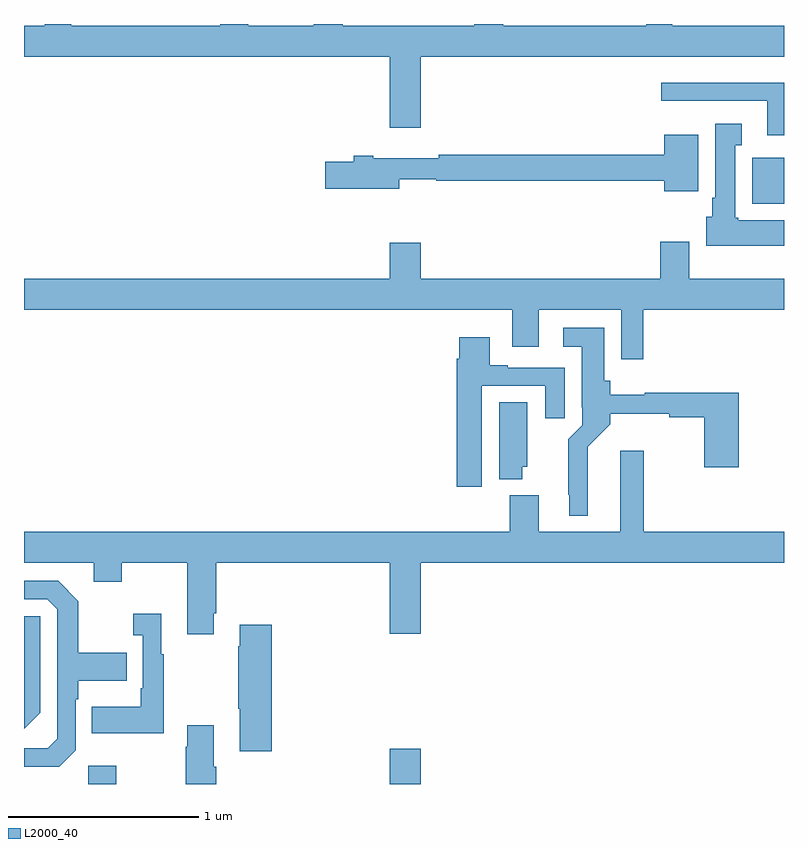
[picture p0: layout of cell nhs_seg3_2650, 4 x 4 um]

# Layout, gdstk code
import gdstk
lib = gdstk.Library(unit=1e-6, precision=1e-09)
def R(c, l, rs):  # rectangles x0, y0, x1, y1
    for r in rs: c.add(gdstk.rectangle(r[:2], r[2:], *l))
def P(c, l, *ps):  # polygons
    for p in ps: c.add(gdstk.Polygon(p, *l))
L2000_40 = (2000, 40)

nhs_seg3_2650 = lib.new_cell('nhs_seg3_2650')
R(nhs_seg3_2650, L2000_40, [(247.338,718.4,247.485,718.495), (248.924,718.4,249.088,718.585), (250.832,721.454,251,721.696)])
P(nhs_seg3_2650, L2000_40, [(251,722.392),(250.413,722.392),(250.413,722.4),(250.275,722.4),(250.275,722.392),(249.523,722.392),(249.523,722.4),(249.371,722.4),(249.371,722.392),(248.678,722.392),(248.678,722.4),(248.525,722.4),(248.525,722.392),(248.181,722.392),(248.181,722.4),(248.033,722.4),(248.033,722.392),(247.249,722.392),(247.249,722.4),(247.109,722.4),(247.109,722.392),(247,722.392),(247,722.228),(248.924,722.228),(248.924,721.854),(249.088,721.854),(249.088,722.228),(251,722.228)],
  [(251,722.092),(250.353,722.092),(250.353,721.995),(250.913,721.995),(250.913,721.814),(251,721.814)],
  [(251,721.366),(250.758,721.366),(250.758,721.38),(250.744,721.38),(250.744,721.763),(250.777,721.763),(250.777,721.876),(250.637,721.876),(250.637,721.486),(250.622,721.486),(250.622,721.386),(250.592,721.386),(250.592,721.232),(251,721.232)],
  [(250.549,721.816),(250.37,721.816),(250.37,721.712),(249.184,721.712),(249.184,721.693),(248.839,721.693),(248.839,721.706),(248.735,721.706),(248.735,721.676),(248.586,721.676),(248.586,721.534),(248.974,721.534),(248.974,721.584),(249.17,721.584),(249.17,721.576),(250.37,721.576),(250.37,721.52),(250.549,721.52)],
  [(250.259,720.896),(251,720.896),(251,721.06),(250.501,721.06),(250.501,721.255),(250.349,721.255),(250.349,721.06),(249.088,721.06),(249.088,721.249),(248.924,721.249),(248.924,721.06),(247,721.06),(247,720.896),(249.569,720.896),(249.569,720.702),(249.709,720.702),(249.709,720.896),(250.143,720.896),(250.143,720.636),(250.259,720.636)],
  [(249.967,720.176),(250.085,720.294),(250.085,720.35),(250.396,720.35),(250.396,720.331),(250.58,720.331),(250.58,720.066),(250.763,720.066),(250.763,720.46),(250.268,720.46),(250.268,720.449),(250.085,720.449),(250.085,720.522),(250.054,720.522),(250.054,720.802),(249.837,720.802),(249.837,720.701),(249.935,720.701),(249.935,720.382),(249.939,720.382),(249.939,720.288),(249.865,720.214),(249.865,719.923),(249.869,719.923),(249.869,719.813),(249.967,719.813)],
  [(249.409,720.495),(249.743,720.495),(249.743,720.324),(249.847,720.324),(249.847,720.591),(249.547,720.591),(249.547,720.604),(249.451,720.604),(249.451,720.751),(249.29,720.751),(249.29,720.638),(249.278,720.638),(249.278,719.964),(249.409,719.964)],
  [(249.622,720.069),(249.649,720.069),(249.649,720.41),(249.5,720.41),(249.5,720.005),(249.622,720.005)],
  [(247.999,719.299),(248.012,719.299),(248.012,719.564),(248.924,719.564),(248.924,719.19),(249.088,719.19),(249.088,719.564),(251,719.564),(251,719.728),(250.262,719.728),(250.262,720.154),(250.139,720.154),(250.139,719.728),(249.709,719.728),(249.709,719.92),(249.557,719.92),(249.557,719.728),(247,719.728),(247,719.564),(247.367,719.564),(247.367,719.465),(247.515,719.465),(247.515,719.564),(247.859,719.564),(247.859,719.187),(247.999,719.187)],
  [(247.272,718.578),(247.272,718.847),(247.285,718.847),(247.285,718.943),(247.541,718.943),(247.541,719.091),(247.285,719.091),(247.285,719.363),(247.179,719.469),(247,719.469),(247,719.373),(247.122,719.373),(247.176,719.319),(247.176,718.638),(247.125,718.587),(247,718.587),(247,718.491),(247.185,718.491)],
  [(247.735,719.083),(247.723,719.083),(247.723,719.296),(247.575,719.296),(247.575,719.183),(247.626,719.183),(247.626,718.903),(247.614,718.903),(247.614,718.807),(247.357,718.807),(247.357,718.667),(247.735,718.667)],
  [(247.086,718.776),(247.086,719.283),(247,719.283),(247,718.69)],
  [(248.303,719.239),(248.135,719.239),(248.135,719.126),(248.128,719.126),(248.128,718.795),(248.135,718.795),(248.135,718.572),(248.303,718.572)],
  [(248.012,718.492),(247.999,718.492),(247.999,718.708),(247.859,718.708),(247.859,718.595),(247.852,718.595),(247.852,718.4),(248.012,718.4)])

lib.write_gds('nhs_seg3_2650.gds')
